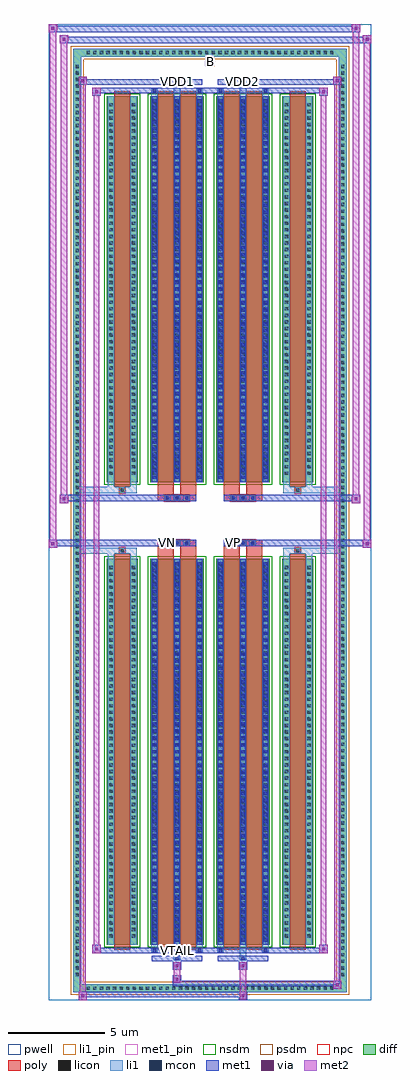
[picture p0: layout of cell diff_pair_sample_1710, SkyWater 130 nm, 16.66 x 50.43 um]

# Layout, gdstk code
import gdstk
lib = gdstk.Library(unit=1e-6, precision=5e-09)
def R(c, l, rs):  # rectangles x0, y0, x1, y1
    for r in rs: c.add(gdstk.rectangle(r[:2], r[2:], *l))
def A(c, l, x, y, w, h, nx, ny, dx, dy):  # array of equal rectangles
    R(c, l, [(x+i*dx, y+j*dy, x+i*dx+w, y+j*dy+h) for i in range(nx) for j in range(ny)])
def P(c, l, *ps):  # polygons
    for p in ps: c.add(gdstk.Polygon(p, *l))
pwell = (64, 44)
diff = (65, 20)
poly = (66, 20)
licon = (66, 44)
li1_pin = (67, 16)
li1 = (67, 20)
mcon = (67, 44)
met1_pin = (68, 16)
met1 = (68, 20)
via = (68, 44)
met2 = (69, 20)
nsdm = (93, 44)
psdm = (94, 20)
npc = (95, 20)

diff_pair_sample_1710 = lib.new_cell('diff_pair_sample_1710')
R(diff_pair_sample_1710, pwell, [(-8.33,-24.78,8.33,25.65), (-5.65,-22.97,-0.01,-0.795), (0.01,-22.97,5.65,-0.795), (-5.65,0.795,-0.01,22.97), (0.01,0.795,5.65,22.97)])
A(diff_pair_sample_1710, diff, -6.495, -24.38, 0.41, 0.41, 38, 2, 0.34, 48.35)
A(diff_pair_sample_1710, diff, -7.06, -23.665, 0.41, 0.41, 1, 139, 0, 0.34)
A(diff_pair_sample_1710, diff, 6.65, -23.665, 0.41, 0.41, 1, 139, 0, 0.34)
R(diff_pair_sample_1710, diff, [(-6.495,-24.38,6.495,-23.97), (-7.06,-23.665,-6.65,23.665), (6.65,-23.665,7.06,23.665), (-5.34,-21.925,-3.73,-1.985), (-3.09,-21.925,-0.32,-1.985), (0.32,-21.925,3.09,-1.985), (3.73,-21.925,5.34,-1.985), (-5.34,1.985,-3.73,21.925), (-3.09,1.985,-0.32,21.925), (0.32,1.985,3.09,21.925), (3.73,1.985,5.34,21.925), (-6.495,23.97,6.495,24.38)])
P(diff_pair_sample_1710, diff, [(7.06,24.38),(-7.06,24.38),(-7.06,-23.97),(-6.65,-23.97),(-6.65,23.97),(6.65,23.97),(6.65,-23.97),(-6.65,-23.97),(-7.06,-23.97),(-7.06,-24.38),(7.06,-24.38)])
A(diff_pair_sample_1710, poly, -2.37, -1.325, 0.33, 0.33, 3, 2, 0.5, 2.32)
A(diff_pair_sample_1710, poly, 1.04, -1.325, 0.33, 0.33, 3, 2, 0.5, 2.32)
R(diff_pair_sample_1710, poly, [(-4.95,-22.175,-4.12,-1.735), (-2.7,-22.175,-1.87,-1.735), (-1.54,-22.175,-0.71,-1.735), (0.71,-22.175,1.54,-1.735), (1.87,-22.175,2.7,-1.735), (4.12,-22.175,4.95,-1.735), (-4.7,-1.735,-4.37,-1.405), (-4.7,-1.735,-4.37,-1.405), (-2.7,-1.735,-1.87,-1.325), (-1.54,-1.735,-0.71,-1.325), (0.71,-1.735,1.54,-1.325), (1.87,-1.735,2.7,-1.325), (4.37,-1.735,4.7,-1.405), (4.37,-1.735,4.7,-1.405), (-2.7,-1.325,-0.71,-0.995), (0.71,-1.325,2.7,-0.995), (-2.7,0.995,-0.71,1.325), (0.71,0.995,2.7,1.325), (-2.7,1.325,-1.87,1.735), (-1.54,1.325,-0.71,1.735), (0.71,1.325,1.54,1.735), (1.87,1.325,2.7,1.735), (-4.7,1.405,-4.37,1.735), (-4.7,1.405,-4.37,1.735), (4.37,1.405,4.7,1.735), (4.37,1.405,4.7,1.735), (-4.95,1.735,-4.12,22.175), (-2.7,1.735,-1.87,22.175), (-1.54,1.735,-0.71,22.175), (0.71,1.735,1.54,22.175), (1.87,1.735,2.7,22.175), (4.12,1.735,4.95,22.175)])
A(diff_pair_sample_1710, licon, -6.375, -24.26, 0.17, 0.17, 38, 2, 0.34, 48.35)
A(diff_pair_sample_1710, licon, -6.94, -23.545, 0.17, 0.17, 1, 139, 0, 0.34)
A(diff_pair_sample_1710, licon, 6.77, -23.545, 0.17, 0.17, 1, 139, 0, 0.34)
A(diff_pair_sample_1710, licon, -5.2, -21.56, 0.17, 0.17, 1, 57, 0, 0.34)
A(diff_pair_sample_1710, licon, -4.04, -21.56, 0.17, 0.17, 1, 57, 0, 0.34)
A(diff_pair_sample_1710, licon, -2.95, -21.56, 0.17, 0.17, 3, 57, 1.16, 0.34)
A(diff_pair_sample_1710, licon, 0.46, -21.56, 0.17, 0.17, 3, 57, 1.16, 0.34)
A(diff_pair_sample_1710, licon, 3.87, -21.56, 0.17, 0.17, 1, 57, 0, 0.34)
A(diff_pair_sample_1710, licon, 5.03, -21.56, 0.17, 0.17, 1, 57, 0, 0.34)
A(diff_pair_sample_1710, licon, -2.29, -1.245, 0.17, 0.17, 3, 2, 0.5, 2.32)
A(diff_pair_sample_1710, licon, 1.12, -1.245, 0.17, 0.17, 3, 2, 0.5, 2.32)
A(diff_pair_sample_1710, licon, -5.2, 2.35, 0.17, 0.17, 1, 57, 0, 0.34)
A(diff_pair_sample_1710, licon, -4.04, 2.35, 0.17, 0.17, 1, 57, 0, 0.34)
A(diff_pair_sample_1710, licon, -2.95, 2.35, 0.17, 0.17, 3, 57, 1.16, 0.34)
A(diff_pair_sample_1710, licon, 0.46, 2.35, 0.17, 0.17, 3, 57, 1.16, 0.34)
A(diff_pair_sample_1710, licon, 3.87, 2.35, 0.17, 0.17, 1, 57, 0, 0.34)
A(diff_pair_sample_1710, licon, 5.03, 2.35, 0.17, 0.17, 1, 57, 0, 0.34)
R(diff_pair_sample_1710, licon, [(-4.62,-1.655,-4.45,-1.485), (4.45,-1.655,4.62,-1.485), (-4.62,1.485,-4.45,1.655), (4.45,1.485,4.62,1.655)])
R(diff_pair_sample_1710, li1_pin, [(-0.25,23.47,0.25,23.97)])
A(diff_pair_sample_1710, li1, -6.455, -24.34, 0.33, 0.33, 38, 2, 0.34, 48.35)
A(diff_pair_sample_1710, li1, -7.02, -23.625, 0.33, 0.33, 1, 139, 0, 0.34)
A(diff_pair_sample_1710, li1, 6.69, -23.625, 0.33, 0.33, 1, 139, 0, 0.34)
A(diff_pair_sample_1710, li1, -3.03, -21.925, 0.33, 19.94, 3, 2, 1.16, 23.91)
A(diff_pair_sample_1710, li1, 0.38, -21.925, 0.33, 19.94, 3, 2, 1.16, 23.91)
A(diff_pair_sample_1710, li1, -2.95, -21.76, 0.17, 0.17, 3, 55, 1.16, 0.36)
A(diff_pair_sample_1710, li1, -2.95, -21.76, 0.17, 19.61, 3, 2, 1.16, 23.91)
A(diff_pair_sample_1710, li1, 0.46, -21.76, 0.17, 0.17, 3, 55, 1.16, 0.36)
A(diff_pair_sample_1710, li1, 0.46, -21.76, 0.17, 19.61, 3, 2, 1.16, 23.91)
A(diff_pair_sample_1710, li1, -5.28, -21.64, 0.33, 0.33, 1, 57, 0, 0.34)
A(diff_pair_sample_1710, li1, -4.12, -21.64, 0.33, 0.33, 1, 57, 0, 0.34)
A(diff_pair_sample_1710, li1, -3.03, -21.64, 0.33, 0.33, 3, 57, 1.16, 0.34)
A(diff_pair_sample_1710, li1, 0.38, -21.64, 0.33, 0.33, 3, 57, 1.16, 0.34)
A(diff_pair_sample_1710, li1, 3.79, -21.64, 0.33, 0.33, 1, 57, 0, 0.34)
A(diff_pair_sample_1710, li1, 4.95, -21.64, 0.33, 0.33, 1, 57, 0, 0.34)
A(diff_pair_sample_1710, li1, -2.37, -1.325, 0.33, 0.33, 3, 2, 0.5, 2.32)
A(diff_pair_sample_1710, li1, 1.04, -1.325, 0.33, 0.33, 3, 2, 0.5, 2.32)
A(diff_pair_sample_1710, li1, -2.95, 2.15, 0.17, 0.17, 3, 55, 1.16, 0.36)
A(diff_pair_sample_1710, li1, 0.46, 2.15, 0.17, 0.17, 3, 55, 1.16, 0.36)
A(diff_pair_sample_1710, li1, -5.28, 2.27, 0.33, 0.33, 1, 57, 0, 0.34)
A(diff_pair_sample_1710, li1, -4.12, 2.27, 0.33, 0.33, 1, 57, 0, 0.34)
A(diff_pair_sample_1710, li1, -3.03, 2.27, 0.33, 0.33, 3, 57, 1.16, 0.34)
A(diff_pair_sample_1710, li1, 0.38, 2.27, 0.33, 0.33, 3, 57, 1.16, 0.34)
A(diff_pair_sample_1710, li1, 3.79, 2.27, 0.33, 0.33, 1, 57, 0, 0.34)
A(diff_pair_sample_1710, li1, 4.95, 2.27, 0.33, 0.33, 1, 57, 0, 0.34)
R(diff_pair_sample_1710, li1, [(-7.06,-24.38,-6.65,-23.97), (-7.06,-24.38,-6.65,-23.97), (-6.65,-24.38,6.65,-23.97), (6.65,-24.38,7.06,-23.97), (6.65,-24.38,7.06,-23.97), (-7.06,-23.97,-6.65,23.97), (6.65,-23.97,7.06,23.97), (-1.87,-22.73,-1.54,-21.925), (-1.79,-22.73,-1.62,-22.56), (1.54,-22.73,1.87,-21.925), (1.62,-22.73,1.79,-22.56), (-3.03,-22.3,-2.7,-21.925), (-2.95,-22.3,-2.78,-22.13), (-0.71,-22.3,-0.38,-21.925), (-0.63,-22.3,-0.46,-22.13), (0.38,-22.3,0.71,-21.925), (0.46,-22.3,0.63,-22.13), (2.7,-22.3,3.03,-21.925), (2.78,-22.3,2.95,-22.13), (-5.28,-21.925,-4.95,-1.985), (-4.12,-21.925,-3.79,-1.985), (3.79,-21.925,4.12,-1.985), (4.95,-21.925,5.28,-1.985), (-5.28,-1.985,-4.95,-1.405), (-4.12,-1.985,-3.79,-1.405), (3.79,-1.985,4.12,-1.405), (4.95,-1.985,5.28,-1.405), (-7.06,-1.735,-4.7,-1.405), (-5.28,-1.735,-4.7,-1.405), (-4.7,-1.735,-4.37,-1.405), (-4.37,-1.735,-3.79,-1.405), (3.79,-1.735,4.37,-1.405), (4.37,-1.735,4.7,-1.405), (4.37,-1.735,7.06,-1.405), (4.7,-1.735,5.28,-1.405), (-7.06,1.405,-4.7,1.735), (-5.28,1.405,-4.7,1.735), (-5.28,1.405,-4.95,1.985), (-4.7,1.405,-4.37,1.735), (-4.37,1.405,-3.79,1.735), (-4.12,1.405,-3.79,1.985), (3.79,1.405,4.37,1.735), (3.79,1.405,4.12,1.985), (4.37,1.405,4.7,1.735), (4.37,1.405,7.06,1.735), (4.7,1.405,5.28,1.735), (4.95,1.405,5.28,1.985), (-5.28,1.985,-4.95,21.925), (-4.12,1.985,-3.79,21.925), (3.79,1.985,4.12,21.925), (4.95,1.985,5.28,21.925), (-3.03,21.925,-2.7,22.3), (-1.87,21.925,-1.54,22.73), (-0.71,21.925,-0.38,22.3), (0.38,21.925,0.71,22.3), (1.54,21.925,1.87,22.73), (2.7,21.925,3.03,22.3), (-2.95,22.13,-2.78,22.3), (-0.63,22.13,-0.46,22.3), (0.46,22.13,0.63,22.3), (2.78,22.13,2.95,22.3), (-1.79,22.56,-1.62,22.73), (1.62,22.56,1.79,22.73), (-7.06,23.97,-6.65,24.38), (-7.06,23.97,-6.65,24.38), (-6.65,23.97,6.65,24.38), (6.65,23.97,7.06,24.38), (6.65,23.97,7.06,24.38)])
A(diff_pair_sample_1710, mcon, -2.95, -21.76, 0.17, 0.17, 3, 55, 1.16, 0.36)
A(diff_pair_sample_1710, mcon, 0.46, -21.76, 0.17, 0.17, 3, 55, 1.16, 0.36)
A(diff_pair_sample_1710, mcon, -2.29, -1.245, 0.17, 0.17, 3, 2, 0.5, 2.32)
A(diff_pair_sample_1710, mcon, 1.12, -1.245, 0.17, 0.17, 3, 2, 0.5, 2.32)
A(diff_pair_sample_1710, mcon, -2.95, 2.15, 0.17, 0.17, 3, 55, 1.16, 0.36)
A(diff_pair_sample_1710, mcon, 0.46, 2.15, 0.17, 0.17, 3, 55, 1.16, 0.36)
R(diff_pair_sample_1710, mcon, [(-1.79,-22.73,-1.62,-22.56), (1.62,-22.73,1.79,-22.56), (-2.95,-22.3,-2.78,-22.13), (-0.63,-22.3,-0.46,-22.13), (0.46,-22.3,0.63,-22.13), (2.78,-22.3,2.95,-22.13), (-2.95,22.13,-2.78,22.3), (-0.63,22.13,-0.46,22.3), (0.46,22.13,0.63,22.3), (2.78,22.13,2.95,22.3), (-1.79,22.56,-1.62,22.73), (1.62,22.56,1.79,22.73)])
R(diff_pair_sample_1710, met1_pin, [(-1.84,-22.34,-1.57,-22.07), (-2.34,-1.285,-2.07,-1.015), (1.07,-1.285,1.34,-1.015), (-1.84,22.52,-1.57,22.79), (1.57,22.52,1.84,22.79)])
A(diff_pair_sample_1710, met1, -3.01, -21.925, 0.29, 19.94, 3, 2, 1.16, 23.91)
A(diff_pair_sample_1710, met1, 0.4, -21.925, 0.29, 19.94, 3, 2, 1.16, 23.91)
A(diff_pair_sample_1710, met1, -3.01, -21.82, 0.29, 0.29, 3, 55, 1.16, 0.36)
A(diff_pair_sample_1710, met1, 0.4, -21.82, 0.29, 0.29, 3, 55, 1.16, 0.36)
A(diff_pair_sample_1710, met1, -2.35, -1.305, 0.29, 0.29, 3, 2, 0.5, 2.32)
A(diff_pair_sample_1710, met1, 1.06, -1.305, 0.29, 0.29, 3, 2, 0.5, 2.32)
A(diff_pair_sample_1710, met1, -3.01, 2.09, 0.29, 0.29, 3, 55, 1.16, 0.36)
A(diff_pair_sample_1710, met1, 0.4, 2.09, 0.29, 0.29, 3, 55, 1.16, 0.36)
R(diff_pair_sample_1710, met1, [(-6.79,-24.78,-6.36,-24.35), (1.49,-24.78,1.92,-24.35), (-6.79,-24.64,1.92,-24.35), (6.36,-24.21,6.79,-23.78), (-1.92,-24.07,6.79,-23.78), (-1.92,-23.93,-1.49,-23.5), (-1.92,-23.22,-1.49,-22.79), (1.49,-23.22,1.92,-22.79), (-3.01,-22.79,-0.4,-22.5), (-1.85,-22.79,-1.56,-22.5), (0.4,-22.79,3.01,-22.5), (1.56,-22.79,1.85,-22.5), (-6.08,-22.36,-5.65,-21.93), (-6.08,-22.36,-3.01,-22.07), (-3.01,-22.36,-2.72,-22.07), (-3.01,-22.36,-0.4,-22.07), (-0.69,-22.36,-0.4,-22.07), (-0.4,-22.36,0.4,-22.07), (0.4,-22.36,0.69,-22.07), (0.4,-22.36,3.01,-22.07), (2.72,-22.36,3.01,-22.07), (3.01,-22.36,6.08,-22.07), (5.65,-22.36,6.08,-21.93), (-8.33,-1.425,-7.9,-0.995), (7.9,-1.425,8.33,-0.995), (-8.33,-1.325,-0.71,-0.995), (-2.7,-1.325,-0.71,-0.995), (0.71,-1.325,2.7,-0.995), (0.71,-1.325,8.33,-0.995), (-7.76,0.895,-7.33,1.325), (7.33,0.895,7.76,1.325), (-7.76,0.995,-2.7,1.325), (-2.7,0.995,-0.71,1.325), (0.71,0.995,2.7,1.325), (2.7,0.995,7.76,1.325), (-6.08,21.93,-5.65,22.36), (5.65,21.93,6.08,22.36), (-6.08,22.07,-3.01,22.36), (-3.01,22.07,-2.72,22.36), (-3.01,22.07,-0.4,22.36), (-0.69,22.07,-0.4,22.36), (-0.4,22.07,0.4,22.36), (0.4,22.07,0.69,22.36), (0.4,22.07,3.01,22.36), (2.72,22.07,3.01,22.36), (3.01,22.07,6.08,22.36), (-6.79,22.5,-6.36,22.93), (-6.79,22.5,-3.01,22.79), (-3.01,22.5,-0.4,22.79), (-1.85,22.5,-1.56,22.79), (0.4,22.5,3.01,22.79), (1.56,22.5,1.85,22.79), (3.01,22.5,6.79,22.79), (6.36,22.5,6.79,22.93), (-7.76,24.65,-7.33,25.08), (-7.76,24.65,-5.65,24.98), (-5.65,24.65,5.65,24.98), (5.65,24.65,8.33,24.98), (7.9,24.65,8.33,25.08), (-8.33,25.22,-7.9,25.65), (-8.33,25.22,-5.65,25.55), (-5.65,25.22,5.65,25.55), (5.65,25.22,7.76,25.55), (7.33,25.22,7.76,25.65)])
R(diff_pair_sample_1710, via, [(-6.65,-24.64,-6.5,-24.49), (1.63,-24.64,1.78,-24.49), (6.5,-24.07,6.65,-23.92), (-1.78,-23.79,-1.63,-23.64), (-1.78,-23.08,-1.63,-22.93), (1.63,-23.08,1.78,-22.93), (-5.94,-22.22,-5.79,-22.07), (5.79,-22.22,5.94,-22.07), (-8.19,-1.285,-8.04,-1.135), (8.04,-1.285,8.19,-1.135), (-7.62,1.035,-7.47,1.185), (7.47,1.035,7.62,1.185), (-5.94,22.07,-5.79,22.22), (5.79,22.07,5.94,22.22), (-6.65,22.64,-6.5,22.79), (6.5,22.64,6.65,22.79), (-7.62,24.79,-7.47,24.94), (8.04,24.79,8.19,24.94), (-8.19,25.36,-8.04,25.51), (7.47,25.36,7.62,25.51)])
R(diff_pair_sample_1710, met2, [(-6.79,-24.78,-6.36,-24.35), (-6.72,-24.78,-6.43,22.93), (-6.43,-24.78,-6.36,-24.35), (-6.74,-24.73,-6.41,-24.4), (1.54,-24.73,1.87,-24.4), (1.54,-24.4,1.87,-23.17), (6.36,-24.21,6.79,-23.78), (6.43,-24.21,6.72,22.93), (6.72,-24.21,6.79,-23.78), (6.41,-24.16,6.74,-23.83), (-1.87,-23.88,-1.54,-23.55), (-1.87,-23.55,-1.54,-23.17), (-1.87,-23.17,-1.54,-22.84), (1.54,-23.17,1.87,-22.84), (-6.08,-22.36,-5.65,-21.93), (-6.01,-22.36,-5.72,22.36), (-5.72,-22.36,-5.65,-21.93), (5.65,-22.36,6.08,-21.93), (5.72,-22.36,6.01,22.36), (6.01,-22.36,6.08,-21.93), (-6.03,-22.31,-5.7,-21.98), (5.7,-22.31,6.03,-21.98), (-8.33,-1.425,-7.9,-0.995), (-8.28,-1.425,-7.95,25.65), (-7.95,-1.425,-7.9,-0.995), (7.9,-1.425,8.33,-0.995), (7.95,-1.425,8.28,25.08), (8.28,-1.425,8.33,-0.995), (-8.28,-1.375,-7.95,-1.045), (7.95,-1.375,8.28,-1.045), (-7.76,0.895,-7.33,1.325), (-7.71,0.895,-7.38,25.08), (-7.38,0.895,-7.33,1.325), (7.33,0.895,7.76,1.325), (7.38,0.895,7.71,25.65), (7.71,0.895,7.76,1.325), (-7.71,0.945,-7.38,1.275), (7.38,0.945,7.71,1.275), (-6.08,21.93,-5.65,22.36), (-5.72,21.93,-5.65,22.36), (5.65,21.93,6.08,22.36), (6.01,21.93,6.08,22.36), (-6.03,21.98,-5.7,22.31), (5.7,21.98,6.03,22.31), (-6.79,22.5,-6.36,22.93), (-6.43,22.5,-6.36,22.93), (6.36,22.5,6.79,22.93), (6.72,22.5,6.79,22.93), (-6.74,22.55,-6.41,22.88), (6.41,22.55,6.74,22.88), (-7.76,24.65,-7.33,25.08), (-7.38,24.65,-7.33,25.08), (7.9,24.65,8.33,25.08), (8.28,24.65,8.33,25.08), (-7.71,24.7,-7.38,25.03), (7.95,24.7,8.28,25.03), (-8.33,25.22,-7.9,25.65), (-7.95,25.22,-7.9,25.65), (7.33,25.22,7.76,25.65), (7.71,25.22,7.76,25.65), (-8.28,25.27,-7.95,25.6), (7.38,25.27,7.71,25.6)])
R(diff_pair_sample_1710, nsdm, [(-5.47,-22.055,-3.6,-1.855), (-3.22,-22.055,-0.19,-1.855), (0.19,-22.055,3.22,-1.855), (3.6,-22.055,5.47,-1.855), (-5.47,1.855,-3.6,22.055), (-3.22,1.855,-0.19,22.055), (0.19,1.855,3.22,22.055), (3.6,1.855,5.47,22.055)])
P(diff_pair_sample_1710, psdm, [(7.19,24.51),(-7.19,24.51),(-7.19,-23.84),(-6.52,-23.84),(-6.52,23.84),(6.52,23.84),(6.52,-23.84),(-6.52,-23.84),(-7.19,-23.84),(-7.19,-24.51),(7.19,-24.51)])
A(diff_pair_sample_1710, npc, -2.39, -1.345, 0.37, 0.37, 3, 2, 0.5, 2.32)
A(diff_pair_sample_1710, npc, 1.02, -1.345, 0.37, 0.37, 3, 2, 0.5, 2.32)
R(diff_pair_sample_1710, npc, [(-4.72,-1.755,-4.35,-1.385), (4.35,-1.755,4.72,-1.385), (-2.39,-1.345,-1.52,-0.975), (-2.39,-1.345,-1.52,-0.975), (-1.89,-1.345,-1.02,-0.975), (-1.89,-1.345,-1.02,-0.975), (1.02,-1.345,1.89,-0.975), (1.02,-1.345,1.89,-0.975), (1.52,-1.345,2.39,-0.975), (1.52,-1.345,2.39,-0.975), (-2.39,0.975,-1.52,1.345), (-2.39,0.975,-1.52,1.345), (-1.89,0.975,-1.02,1.345), (-1.89,0.975,-1.02,1.345), (1.02,0.975,1.89,1.345), (1.02,0.975,1.89,1.345), (1.52,0.975,2.39,1.345), (1.52,0.975,2.39,1.345), (-4.72,1.385,-4.35,1.755), (4.35,1.385,4.72,1.755)])
diff_pair_sample_1710.add(gdstk.Label('VTAIL', (-1.705,-22.205), layer=68, texttype=5))
diff_pair_sample_1710.add(gdstk.Label('VN', (-2.205,-1.15), layer=68, texttype=5))
diff_pair_sample_1710.add(gdstk.Label('VP', (1.205,-1.15), layer=68, texttype=5))
diff_pair_sample_1710.add(gdstk.Label('B', (0,23.72), layer=67, texttype=5))
diff_pair_sample_1710.add(gdstk.Label('VDD2', (1.705,22.655), layer=68, texttype=5))
diff_pair_sample_1710.add(gdstk.Label('VDD1', (-1.705,22.655), layer=68, texttype=5))

lib.write_gds('diff_pair_sample_1710.gds')
